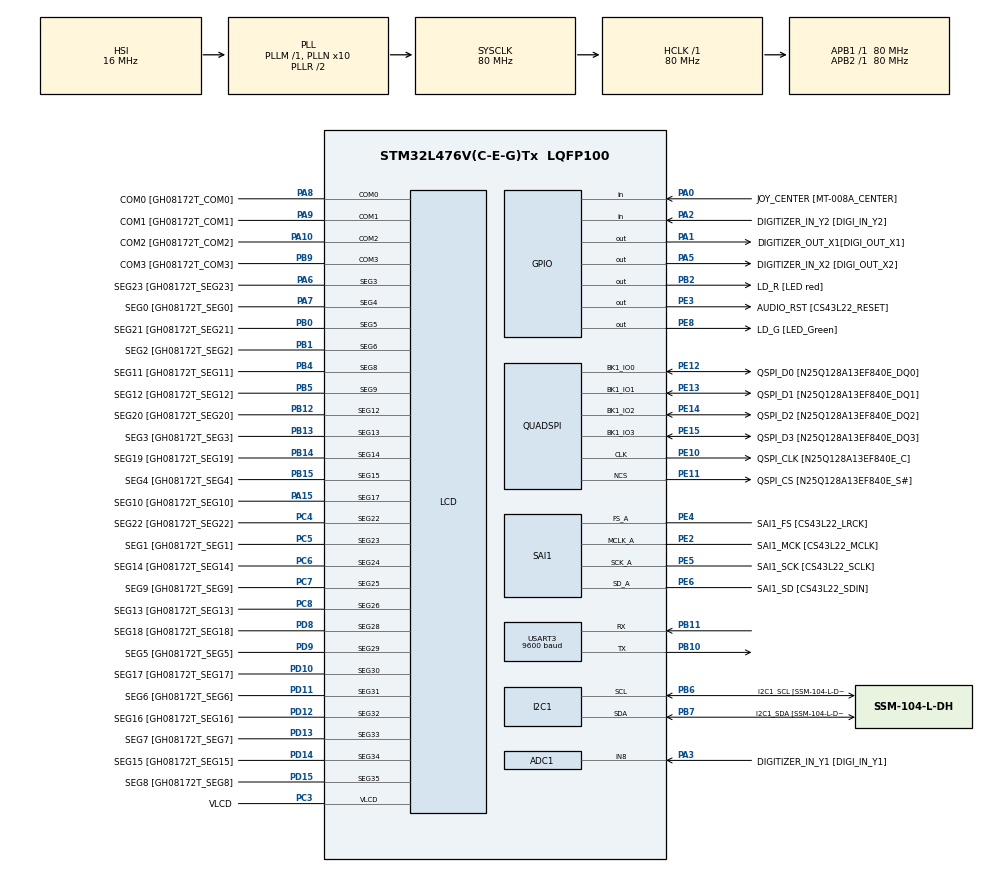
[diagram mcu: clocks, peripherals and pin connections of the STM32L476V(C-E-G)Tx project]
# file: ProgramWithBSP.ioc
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ADC1.Channel-0\#ChannelRegularConversion=ADC_CHANNEL_8
ADC1.ContinuousConvMode=DISABLE
ADC1.NbrOfConversionFlag=1
ADC1.Offset-0\#ChannelRegularConversion=0
ADC1.OffsetNumber-0\#ChannelRegularConversion=ADC_OFFSET_NONE
ADC1.Rank-0\#ChannelRegularConversion=1
ADC1.Resolution=ADC_RESOLUTION_8B
ADC1.SamplingTime-0\#ChannelRegularConversion=ADC_SAMPLETIME_92CYCLES_5
ADC1.master=1
Dma.Request0=SAI1_A
Dma.SAI1_A.0.Direction=DMA_MEMORY_TO_PERIPH
Dma.SAI1_A.0.Instance=DMA2_Channel1
Dma.SAI1_A.0.MemDataAlignment=DMA_MDATAALIGN_HALFWORD
Dma.SAI1_A.0.MemInc=DMA_MINC_ENABLE
Dma.SAI1_A.0.Mode=DMA_CIRCULAR
Dma.SAI1_A.0.PeriphDataAlignment=DMA_PDATAALIGN_HALFWORD
Dma.SAI1_A.0.PeriphInc=DMA_PINC_DISABLE
Dma.SAI1_A.0.Priority=DMA_PRIORITY_LOW
I2C1.Timing=0x10909CEC
LCD.Bias=LCD_BIAS_1_3
LCD.BlinkFrequency=LCD_BLINKFREQUENCY_DIV32
LCD.Contrast=LCD_CONTRASTLEVEL_2
LCD.Divider=LCD_DIVIDER_31
LCD.PulseOnDuration=LCD_PULSEONDURATION_4
Mcu.Family=STM32L4
Mcu.Name=STM32L476V(C-E-G)Tx
Mcu.Package=LQFP100
NVIC.ADC1_2_IRQn=true\:0\:0\:false\:false\:true\:true\:true\:true
NVIC.DMA2_Channel1_IRQn=true\:0\:0\:false\:false\:true\:false\:true\:true
NVIC.PriorityGroup=NVIC_PRIORITYGROUP_4
NVIC.SAI1_IRQn=true\:0\:0\:false\:false\:true\:true\:true\:true
NVIC.USART3_IRQn=true\:0\:0\:false\:false\:true\:true\:true\:true
PA0.GPIO_Label=JOY_CENTER [MT-008A_CENTER]
PA0.GPIO_Mode=GPIO_MODE_INPUT
PA0.GPIO_PuPd=GPIO_PULLDOWN
PA0.Signal=GPIO_Input
PA1.GPIO_Label=DIGITIZER_OUT_X1[DIGI_OUT_X1]
PA1.GPIO_PuPd=GPIO_PULLUP
PA1.PinState=GPIO_PIN_SET
PA1.Signal=GPIO_Output
PA10.GPIO_Label=COM2 [GH08172T_COM2]
PA10.GPIO_Mode=GPIO_MODE_AF_PP
PA10.GPIO_PuPd=GPIO_NOPULL
PA10.GPIO_Speed=GPIO_SPEED_FREQ_LOW
PA10.Mode=1/4 Duty Cycle
PA10.Signal=LCD_COM2
PA13\ (JTMS-SWDIO).Mode=Serial_Wire
PA13\ (JTMS-SWDIO).Signal=SYS_JTMS-SWDIO
PA14\ (JTCK-SWCLK).Mode=Serial_Wire
PA14\ (JTCK-SWCLK).Signal=SYS_JTCK-SWCLK
PA15\ (JTDI).GPIO_Label=SEG10 [GH08172T_SEG10]
PA15\ (JTDI).GPIO_Mode=GPIO_MODE_AF_PP
PA15\ (JTDI).GPIO_PuPd=GPIO_NOPULL
PA15\ (JTDI).GPIO_Speed=GPIO_SPEED_FREQ_LOW
PA15\ (JTDI).Mode=SEG17
PA15\ (JTDI).Signal=LCD_SEG17
PA2.GPIO_Label=DIGITIZER_IN_Y2 [DIGI_IN_Y2]
PA2.GPIO_PuPd=GPIO_PULLDOWN
PA2.Signal=GPIO_Input
PA3.GPIO_Label=DIGITIZER_IN_Y1 [DIGI_IN_Y1]
PA3.Signal=ADCx_IN8
PA5.GPIO_Label=DIGITIZER_IN_X2 [DIGI_OUT_X2]
PA5.GPIO_PuPd=GPIO_PULLDOWN
PA5.Signal=GPIO_Output
PA6.GPIO_Label=SEG23 [GH08172T_SEG23]
PA6.GPIO_Mode=GPIO_MODE_AF_PP
PA6.GPIO_PuPd=GPIO_NOPULL
PA6.GPIO_Speed=GPIO_SPEED_FREQ_LOW
PA6.Mode=SEG3
PA6.Signal=LCD_SEG3
PA7.GPIO_Label=SEG0 [GH08172T_SEG0]
PA7.GPIO_Mode=GPIO_MODE_AF_PP
PA7.GPIO_PuPd=GPIO_NOPULL
PA7.GPIO_Speed=GPIO_SPEED_FREQ_LOW
PA7.Mode=SEG4
PA7.Signal=LCD_SEG4
PA8.GPIO_Label=COM0 [GH08172T_COM0]
PA8.GPIO_Mode=GPIO_MODE_AF_PP
PA8.GPIO_PuPd=GPIO_NOPULL
PA8.GPIO_Speed=GPIO_SPEED_FREQ_LOW
PA8.Mode=1/4 Duty Cycle
PA8.Signal=LCD_COM0
PA9.GPIO_Label=COM1 [GH08172T_COM1]
PA9.GPIO_Mode=GPIO_MODE_AF_PP
PA9.GPIO_PuPd=GPIO_NOPULL
PA9.GPIO_Speed=GPIO_SPEED_FREQ_LOW
PA9.Mode=1/4 Duty Cycle
PA9.Signal=LCD_COM1
PB0.GPIO_Label=SEG21 [GH08172T_SEG21]
PB0.GPIO_Mode=GPIO_MODE_AF_PP
PB0.GPIO_PuPd=GPIO_NOPULL
PB0.GPIO_Speed=GPIO_SPEED_FREQ_LOW
PB0.Mode=SEG5
PB0.Signal=LCD_SEG5
PB1.GPIO_Label=SEG2 [GH08172T_SEG2]
PB1.GPIO_Mode=GPIO_MODE_AF_PP
PB1.GPIO_PuPd=GPIO_NOPULL
PB1.GPIO_Speed=GPIO_SPEED_FREQ_LOW
PB1.Mode=SEG6
PB1.Signal=LCD_SEG6
PB10.Mode=Asynchronous
PB10.Signal=USART3_TX
PB11.Mode=Asynchronous
PB11.Signal=USART3_RX
PB12.GPIO_Label=SEG20 [GH08172T_SEG20]
PB12.GPIO_Mode=GPIO_MODE_AF_PP
PB12.GPIO_PuPd=GPIO_NOPULL
PB12.GPIO_Speed=GPIO_SPEED_FREQ_LOW
PB12.Mode=SEG12
PB12.Signal=LCD_SEG12
PB13.GPIO_Label=SEG3 [GH08172T_SEG3]
PB13.GPIO_Mode=GPIO_MODE_AF_PP
PB13.GPIO_PuPd=GPIO_NOPULL
PB13.GPIO_Speed=GPIO_SPEED_FREQ_LOW
PB13.Mode=SEG13
PB13.Signal=LCD_SEG13
PB14.GPIO_Label=SEG19 [GH08172T_SEG19]
PB14.GPIO_Mode=GPIO_MODE_AF_PP
PB14.GPIO_PuPd=GPIO_NOPULL
PB14.GPIO_Speed=GPIO_SPEED_FREQ_LOW
PB14.Mode=SEG14
PB14.Signal=LCD_SEG14
PB15.GPIO_Label=SEG4 [GH08172T_SEG4]
PB15.GPIO_Mode=GPIO_MODE_AF_PP
PB15.GPIO_PuPd=GPIO_NOPULL
PB15.GPIO_Speed=GPIO_SPEED_FREQ_LOW
PB15.Mode=SEG15
PB15.Signal=LCD_SEG15
PB2.GPIO_Label=LD_R [LED red]
PB2.GPIO_ModeDefaultOutputPP=GPIO_MODE_OUTPUT_PP
PB2.GPIO_PuPd=GPIO_PULLUP
PB2.GPIO_Speed=GPIO_SPEED_FREQ_VERY_HIGH
PB2.Signal=GPIO_Output
PB4\ (NJTRST).GPIO_Label=SEG11 [GH08172T_SEG11]
PB4\ (NJTRST).GPIO_Mode=GPIO_MODE_AF_PP
PB4\ (NJTRST).GPIO_PuPd=GPIO_NOPULL
PB4\ (NJTRST).GPIO_Speed=GPIO_SPEED_FREQ_LOW
PB4\ (NJTRST).Mode=SEG8
PB4\ (NJTRST).Signal=LCD_SEG8
PB5.GPIO_Label=SEG12 [GH08172T_SEG12]
PB5.GPIO_Mode=GPIO_MODE_AF_PP
PB5.GPIO_PuPd=GPIO_NOPULL
PB5.GPIO_Speed=GPIO_SPEED_FREQ_LOW
PB5.Mode=SEG9
PB5.Signal=LCD_SEG9
PB6.GPIO_FM6=__NULL
PB6.GPIO_Label=I2C1_SCL [SSM-104-L-DH_SCL]
PB6.GPIO_Mode=GPIO_MODE_AF_OD
PB6.GPIO_Pu=GPIO_PULLUP
PB6.GPIO_Speed=GPIO_SPEED_FREQ_VERY_HIGH
PB6.Mode=I2C
PB6.Signal=I2C1_SCL
PB7.GPIO_FM7=__NULL
PB7.GPIO_Label=I2C1_SDA [SSM-104-L-DH_SDA]
PB7.GPIO_Mode=GPIO_MODE_AF_OD
PB7.GPIO_Pu=GPIO_PULLUP
PB7.GPIO_Speed=GPIO_SPEED_FREQ_VERY_HIGH
PB7.Mode=I2C
PB7.Signal=I2C1_SDA
PB9.GPIO_FM9=__NULL
PB9.GPIO_Label=COM3 [GH08172T_COM3]
PB9.GPIO_Mode=GPIO_MODE_AF_PP
PB9.GPIO_PuPd=GPIO_NOPULL
PB9.GPIO_Speed=GPIO_SPEED_FREQ_LOW
PB9.Mode=1/4 Duty Cycle
PB9.Signal=LCD_COM3
PC3.GPIO_Label=VLCD
PC3.GPIO_Mode=GPIO_MODE_AF_PP
PC3.GPIO_PuPd=GPIO_NOPULL
PC3.GPIO_Speed=GPIO_SPEED_FREQ_LOW
PC3.Mode=1/4 Duty Cycle
PC3.Signal=LCD_VLCD
PC4.GPIO_Label=SEG22 [GH08172T_SEG22]
PC4.GPIO_Mode=GPIO_MODE_AF_PP
PC4.GPIO_PuPd=GPIO_NOPULL
PC4.GPIO_Speed=GPIO_SPEED_FREQ_LOW
PC4.Mode=SEG22
PC4.Signal=LCD_SEG22
PC5.GPIO_Label=SEG1 [GH08172T_SEG1]
PC5.GPIO_Mode=GPIO_MODE_AF_PP
PC5.GPIO_PuPd=GPIO_NOPULL
PC5.GPIO_Speed=GPIO_SPEED_FREQ_LOW
PC5.Mode=SEG23
PC5.Signal=LCD_SEG23
PC6.GPIO_Label=SEG14 [GH08172T_SEG14]
PC6.GPIO_Mode=GPIO_MODE_AF_PP
PC6.GPIO_PuPd=GPIO_NOPULL
PC6.GPIO_Speed=GPIO_SPEED_FREQ_LOW
PC6.Mode=SEG24
PC6.Signal=LCD_SEG24
PC7.GPIO_Label=SEG9 [GH08172T_SEG9]
PC7.GPIO_Mode=GPIO_MODE_AF_PP
PC7.GPIO_PuPd=GPIO_NOPULL
PC7.GPIO_Speed=GPIO_SPEED_FREQ_LOW
PC7.Mode=SEG25
PC7.Signal=LCD_SEG25
PC8.GPIO_Label=SEG13 [GH08172T_SEG13]
PC8.GPIO_Mode=GPIO_MODE_AF_PP
PC8.GPIO_PuPd=GPIO_NOPULL
PC8.GPIO_Speed=GPIO_SPEED_FREQ_LOW
PC8.Mode=SEG26
PC8.Signal=LCD_SEG26
PD10.GPIO_Label=SEG17 [GH08172T_SEG17]
PD10.GPIO_Mode=GPIO_MODE_AF_PP
PD10.GPIO_PuPd=GPIO_NOPULL
PD10.GPIO_Speed=GPIO_SPEED_FREQ_LOW
PD10.Mode=SEG30
PD10.Signal=LCD_SEG30
PD11.GPIO_Label=SEG6 [GH08172T_SEG6]
PD11.GPIO_Mode=GPIO_MODE_AF_PP
PD11.GPIO_PuPd=GPIO_NOPULL
PD11.GPIO_Speed=GPIO_SPEED_FREQ_LOW
PD11.Mode=SEG31
PD11.Signal=LCD_SEG31
PD12.GPIO_Label=SEG16 [GH08172T_SEG16]
PD12.GPIO_Mode=GPIO_MODE_AF_PP
PD12.GPIO_PuPd=GPIO_NOPULL
PD12.GPIO_Speed=GPIO_SPEED_FREQ_LOW
PD12.Mode=SEG32
PD12.Signal=LCD_SEG32
PD13.GPIO_Label=SEG7 [GH08172T_SEG7]
PD13.GPIO_Mode=GPIO_MODE_AF_PP
PD13.GPIO_PuPd=GPIO_NOPULL
PD13.GPIO_Speed=GPIO_SPEED_FREQ_LOW
PD13.Mode=SEG33
PD13.Signal=LCD_SEG33
PD14.GPIO_Label=SEG15 [GH08172T_SEG15]
PD14.GPIO_Mode=GPIO_MODE_AF_PP
PD14.GPIO_PuPd=GPIO_NOPULL
PD14.GPIO_Speed=GPIO_SPEED_FREQ_LOW
PD14.Mode=SEG34
PD14.Signal=LCD_SEG34
PD15.GPIO_Label=SEG8 [GH08172T_SEG8]
PD15.GPIO_Mode=GPIO_MODE_AF_PP
PD15.GPIO_PuPd=GPIO_NOPULL
PD15.GPIO_Speed=GPIO_SPEED_FREQ_LOW
PD15.Mode=SEG35
PD15.Signal=LCD_SEG35
PD8.GPIO_Label=SEG18 [GH08172T_SEG18]
PD8.GPIO_Mode=GPIO_MODE_AF_PP
PD8.GPIO_PuPd=GPIO_NOPULL
PD8.GPIO_Speed=GPIO_SPEED_FREQ_LOW
PD8.Mode=SEG28
PD8.Signal=LCD_SEG28
PD9.GPIO_Label=SEG5 [GH08172T_SEG5]
PD9.GPIO_Mode=GPIO_MODE_AF_PP
PD9.GPIO_PuPd=GPIO_NOPULL
PD9.GPIO_Speed=GPIO_SPEED_FREQ_LOW
PD9.Mode=SEG29
PD9.Signal=LCD_SEG29
PE10.GPIO_Label=QSPI_CLK [N25Q128A13EF840E_C]
PE10.GPIO_Mode=GPIO_MODE_AF_PP
PE10.GPIO_PuPd=GPIO_NOPULL
PE10.GPIO_Speed=GPIO_SPEED_FREQ_VERY_HIGH
PE10.Mode=Single Bank
PE10.Signal=QUADSPI_CLK
PE11.GPIO_Label=QSPI_CS [N25Q128A13EF840E_S\#]
PE11.GPIO_Mode=GPIO_MODE_AF_PP
PE11.GPIO_PuPd=GPIO_NOPULL
PE11.GPIO_Speed=GPIO_SPEED_FREQ_VERY_HIGH
PE11.Mode=Single Bank
PE11.Signal=QUADSPI_NCS
PE12.GPIO_Label=QSPI_D0 [N25Q128A13EF840E_DQ0]
PE12.GPIO_Mode=GPIO_MODE_AF_PP
PE12.GPIO_PuPd=GPIO_NOPULL
PE12.GPIO_Speed=GPIO_SPEED_FREQ_VERY_HIGH
PE12.Mode=Single Bank
PE12.Signal=QUADSPI_BK1_IO0
PE13.GPIO_Label=QSPI_D1 [N25Q128A13EF840E_DQ1]
PE13.GPIO_Mode=GPIO_MODE_AF_PP
PE13.GPIO_PuPd=GPIO_NOPULL
PE13.GPIO_Speed=GPIO_SPEED_FREQ_VERY_HIGH
PE13.Mode=Single Bank
PE13.Signal=QUADSPI_BK1_IO1
PE14.GPIO_Label=QSPI_D2 [N25Q128A13EF840E_DQ2]
PE14.GPIO_Mode=GPIO_MODE_AF_PP
PE14.GPIO_PuPd=GPIO_NOPULL
PE14.GPIO_Speed=GPIO_SPEED_FREQ_VERY_HIGH
PE14.Mode=Single Bank
PE14.Signal=QUADSPI_BK1_IO2
PE15.GPIO_Label=QSPI_D3 [N25Q128A13EF840E_DQ3]
PE15.GPIO_Mode=GPIO_MODE_AF_PP
PE15.GPIO_PuPd=GPIO_NOPULL
PE15.GPIO_Speed=GPIO_SPEED_FREQ_VERY_HIGH
PE15.Mode=Single Bank
PE15.Signal=QUADSPI_BK1_IO3
PE2.GPIO_Label=SAI1_MCK [CS43L22_MCLK]
PE2.GPIO_Speed=GPIO_SPEED_FREQ_VERY_HIGH
PE2.Mode=SAI_A_MasterWithClock
PE2.Signal=SAI1_MCLK_A
PE3.GPIO_Label=AUDIO_RST [CS43L22_RESET]
PE3.GPIO_ModeDefaultOutputPP=GPIO_MODE_OUTPUT_PP
PE3.GPIO_PuPd=GPIO_NOPULL
PE3.GPIO_Speed=GPIO_SPEED_FREQ_HIGH
PE3.PinState=GPIO_PIN_SET
PE3.Signal=GPIO_Output
PE4.GPIO_Label=SAI1_FS [CS43L22_LRCK]
PE4.GPIO_Mode=GPIO_MODE_AF_PP
PE4.GPIO_PuPd=GPIO_NOPULL
PE4.GPIO_Speed=GPIO_SPEED_FREQ_VERY_HIGH
PE4.Mode=SAI_A_MasterWithClock
PE4.Signal=SAI1_FS_A
PE5.GPIO_Label=SAI1_SCK [CS43L22_SCLK]
PE5.GPIO_Mode=GPIO_MODE_AF_PP
PE5.GPIO_PuPd=GPIO_NOPULL
PE5.GPIO_Speed=GPIO_SPEED_FREQ_VERY_HIGH
PE5.Mode=SAI_A_MasterWithClock
PE5.Signal=SAI1_SCK_A
PE6.GPIO_Label=SAI1_SD [CS43L22_SDIN]
PE6.GPIO_Mode=GPIO_MODE_AF_PP
PE6.GPIO_PuPd=GPIO_NOPULL
PE6.GPIO_Speed=GPIO_SPEED_FREQ_VERY_HIGH
PE6.Mode=SAI_A_MasterWithClock
PE6.Signal=SAI1_SD_A
PE8.GPIO_Label=LD_G [LED_Green]
PE8.GPIO_ModeDefaultOutputPP=GPIO_MODE_OUTPUT_PP
PE8.GPIO_PuPd=GPIO_PULLUP
PE8.GPIO_Speed=GPIO_SPEED_FREQ_VERY_HIGH
PE8.Signal=GPIO_Output
PH0-OSC_IN\ (PH0).Mode=HSE-External-Oscillator
PH0-OSC_IN\ (PH0).Signal=RCC_OSC_IN
PH1-OSC_OUT\ (PH1).Mode=HSE-External-Oscillator
PH1-OSC_OUT\ (PH1).Signal=RCC_OSC_OUT
ProjectManager.HeapSize=0x200
ProjectManager.StackSize=0x400
ProjectManager.TargetToolchain=STM32CubeIDE
QUADSPI.ClockPrescaler=1
QUADSPI.FifoThreshold=4
QUADSPI.FlashSize=24
QUADSPI.SampleShifting=QSPI_SAMPLE_SHIFTING_HALFCYCLE
RCC.ADCFreq_Value=80000000
RCC.AHBFreq_Value=80000000
RCC.APB1Freq_Value=80000000
RCC.APB1TimFreq_Value=80000000
RCC.APB2Freq_Value=80000000
RCC.APB2TimFreq_Value=80000000
RCC.CortexFreq_Value=80000000
RCC.HCLKFreq_Value=80000000
RCC.HSE_VALUE=8000000
RCC.HSI_VALUE=16000000
RCC.LSE_VALUE=32768
RCC.MSI_VALUE=4000000
RCC.PLLN=10
RCC.PLLSAI1N=10
RCC.PLLSourceVirtual=RCC_PLLSOURCE_HSI
RCC.PREFETCH_ENABLE=1
RCC.SYSCLKFreq_VALUE=80000000
RCC.SYSCLKSource=RCC_SYSCLKSOURCE_PLLCLK
RCC.USBFreq_Value=80000000
RCC.VCOOutputFreq_Value=160000000
SAI1.AudioFrequency-SAI_A_MasterWithClock=SAI_AUDIO_FREQUENCY_44K
SAI1.ErrorAudioFreq-SAI_A_MasterWithClock=1.45 %
SAI1.InitProtocol-SAI_A_MasterWithClock=Enable
SAI1.Instance-SAI_A_MasterWithClock=SAI$Index_Block_A
SAI1.MClockEnable-SAI_A_MasterWithClock=SAI_MASTERCLOCK_ENABLE
SAI1.MonoStereoMode-SAI_A_MasterWithClock=SAI_STEREOMODE
SAI1.RealAudioFreq-SAI_A_MasterWithClock=44.642 KHz
SAI1.VirtualMode-SAI_A_MasterWithClock=VM_MASTER
SAI1.VirtualProtocol-SAI_A_BASIC=VM_BASIC_PROTOCOL
SH.ADCx_IN8.0=ADC1_IN8,IN8-Single-Ended
USART3.BaudRate=9600
USART3.VirtualMode-Asynchronous=VM_ASYNC
VP_RTC_VS_RTC_Activate.Mode=RTC_Enabled
VP_SAI1_VP_$IpInstance_SAIA_SAI_BASIC.Mode=SAI_A_BASIC
board=STM32L476G-DISCO

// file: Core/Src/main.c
/* USER CODE BEGIN Header */
/**
  ******************************************************************************
  * @file           : main.c
  * @brief          : Main program body
  ******************************************************************************
  * @attention
  *
  * Copyright (c) 2022 STMicroelectronics.
  * All rights reserved.
  *
  * This software is licensed under terms that can be found in the LICENSE file
  * in the root directory of this software component.
  * If no LICENSE file comes with this software, it is provided AS-IS.
  *
  ******************************************************************************
  */
/* USER CODE END Header */
#include "main.h"

/* USER CODE BEGIN Includes */
#include "../../../Drivers/BSP/STM32L476G-Discovery/stm32l476g_discovery.h"
#include "../../../Drivers/BSP/STM32L476G-Discovery/stm32l476g_discovery_glass_lcd.h"
#include "../../../Drivers/BSP/STM32L476G-Discovery/stm32l476g_discovery_qspi.h"
#include "../../../Drivers/BSP/STM32L476G-Discovery/stm32l476g_discovery_audio.h"
#include "string.h"
#include <stdio.h>

/* USER CODE END Includes */

/* USER CODE BEGIN PTD */

#define BUFFER_SIZE        	1
#define WRITE_READ_ADDR     ((uint32_t)0x00100000)
#define QSPI_BASE_ADDR      ((uint32_t)0x90000000)

uint8_t qspi_aTxBuffer[BUFFER_SIZE];
uint8_t qspi_aRxBuffer[4];

int tab[4][4] = {{0,1,2,3}, {8,5,6,7}, {13,9,10,11}, {15,16,14,17}};
/* USER CODE END PTD */

/* USER CODE BEGIN PD */

//1.open -> sektor 16
//2.trade -> sektor 17
//3.cymbal -> sektor 18
//4.kick2 -> sektor 19
//5.wood -> sektor 20
//6.snare -> sektor 21

//7.clap -> sektor 22
//8.tom -> sektor 23
//9.hihat -> sektor 24
//10.kick -> sektor 25
//11.hihatModular -> sektor 26
//12.kick2 -> sektor 27

//13.cowbell -> sektor 28
//14.egg -> sektor 29
//15.cabasa -> sektor 30
//16.congaLov -> sektor 31
//17.clave -> sektor 32
//18.congaHigh -> sektor 33

void AudioPlay_Error_CallBack(void)
{
  /* Stop the program with an infinite loop */
  Error_Handler();
}

/* Size (in bytes) of each audio file */
#define AUDIO_FILE_SIZE      (uint32_t)(44144)

/* Address of the first audio in FLASH memory*/
#define AUDIO_START_ADDRESS  WRITE_READ_ADDR

#define AUDIODATA_SIZE                      2

/* Remainig number of audio samples to play */
static int32_t RemainingAudioSamplesNb;

/* Address (in Flash memory) of the first audio sample to play */
static uint16_t *pAudioSample;

static uint32_t RozmiarSekcji = 65536;

void AudioPlay_TransferComplete_CallBack()
{
}

/* USER CODE END PD */

 ADC_HandleTypeDef hadc1;

I2C_HandleTypeDef hi2c1;

LCD_HandleTypeDef hlcd;

QSPI_HandleTypeDef hqspi;

RTC_HandleTypeDef hrtc;

SAI_HandleTypeDef hsai_BlockA1;
DMA_HandleTypeDef hdma_sai1_a;

UART_HandleTypeDef huart3;

/* USER CODE BEGIN PV */

uint32_t PomiarADC;
volatile uint8_t adc;
void HAL_ADC_ConvCpltCallback(ADC_HandleTypeDef *hadc) {
	PomiarADC = HAL_ADC_GetValue(&hadc1); // Pobranie zmierzonej wartosci
}

/* USER CODE END PV */

void SystemClock_Config(void);
void PeriphCommonClock_Config(void);
static void MX_GPIO_Init(void);
static void MX_LCD_Init(void);
static void MX_QUADSPI_Init(void);
static void MX_RTC_Init(void);
static void MX_I2C1_Init(void);
static void MX_DMA_Init(void);
static void MX_USART3_UART_Init(void);
static void MX_SAI1_Init(void);
static void MX_ADC1_Init(void);

int main(void)
{

  /* MCU Configuration--------------------------------------------------------*/

  /* Reset of all peripherals, Initializes the Flash interface and the Systick. */
  HAL_Init();

  /* Configure the system clock */
  SystemClock_Config();

/* Configure the peripherals common clocks */
  PeriphCommonClock_Config();

  /* Initialize all configured peripherals */
  MX_GPIO_Init();
  MX_LCD_Init();
  MX_QUADSPI_Init();
  MX_RTC_Init();
  MX_I2C1_Init();
  MX_DMA_Init();
  MX_USART3_UART_Init();
  MX_SAI1_Init();
  MX_ADC1_Init();
  /* USER CODE BEGIN 2 */
  BSP_LCD_GLASS_Init();
  HAL_ADC_Start_IT(&hadc1);
  /* USER CODE END 2 */

  /* Infinite loop */
  /* USER CODE BEGIN WHILE */

  BSP_LCD_GLASS_ScrollSentence((uint8_t *)"      WITAMY W PALPER", 1, SCROLL_SPEED_HIGH);

  static QSPI_Info pQSPI_Info;
  uint8_t status;
  status = BSP_QSPI_Init();
  if (status == QSPI_OK) {
	  pQSPI_Info.FlashSize          = (uint32_t)0x00;
	  pQSPI_Info.EraseSectorSize    = (uint32_t)0x00;
	  pQSPI_Info.EraseSectorsNumber = (uint32_t)0x00;
	  pQSPI_Info.ProgPageSize       = (uint32_t)0x00;
	  pQSPI_Info.ProgPagesNumber    = (uint32_t)0x00;
  }

  if(BSP_AUDIO_OUT_Init(2,  // Słuchawki
                        80, // %głośności
                        44100) != 0)  // częstotliwość
  {
		  Error_Handler();
  }

  BSP_AUDIO_OUT_RegisterCallbacks(AudioPlay_Error_CallBack,
              	  	  	  	  	  NULL,
                                  AudioPlay_TransferComplete_CallBack);

  if(BSP_AUDIO_OUT_SetVolume(80) != 0)
  {
	  Error_Handler();
  }

  int flag2 = 1;
  uint32_t count = 0;
  char buff[6];
  sprintf(buff,"SEK %i",1);
  BSP_LCD_GLASS_DisplayString(buff);
  HAL_ADC_Start(&hadc1);
  while (1)
  {
    /* USER CODE END WHILE */

    /* USER CODE BEGIN 3 */

	  if(HAL_GPIO_ReadPin(JOY_CENTER_GPIO_Port,JOY_CENTER_Pin) && flag2)
	  {
		  count++;
		  flag2 = 0;
		  count = count % 4;
		  sprintf(buff,"SEK %i",count+1);
		  BSP_LCD_GLASS_DisplayString(buff);
	  }
	  if(!(HAL_GPIO_ReadPin(JOY_CENTER_GPIO_Port,JOY_CENTER_Pin)))
	  {
		  flag2 = 1;
	  }

	  if (HAL_ADC_PollForConversion(&hadc1, 10) == HAL_OK)
	  {
		  PomiarADC = HAL_ADC_GetValue(&hadc1);
		  //SEKTOR 1
		  if(PomiarADC == 7 || PomiarADC == 15 || PomiarADC == 31)
		  {
			  RemainingAudioSamplesNb = (uint32_t)(AUDIO_FILE_SIZE / 2);
			  pAudioSample = (uint16_t *) (WRITE_READ_ADDR+(RozmiarSekcji * (tab[count][0])));
			  BSP_AUDIO_OUT_Play(pAudioSample, RemainingAudioSamplesNb);
			  HAL_Delay(150);
			  BSP_AUDIO_OUT_Stop(2);
		  }
		  //SEKTOR 2
		  else if(PomiarADC == 63)
		  {
			  RemainingAudioSamplesNb = (uint32_t)(AUDIO_FILE_SIZE / 2);
			  pAudioSample = (uint16_t *) (WRITE_READ_ADDR+(RozmiarSekcji * (tab[count][1])));
			  BSP_AUDIO_OUT_Play(pAudioSample, RemainingAudioSamplesNb);
			  HAL_Delay(150);
			  BSP_AUDIO_OUT_Stop(2);
		  }
		  //SEKTOR 3
		  else if(PomiarADC == 192)
		  {
			  RemainingAudioSamplesNb = (uint32_t)(AUDIO_FILE_SIZE / 2);
			  pAudioSample = (uint16_t *) (WRITE_READ_ADDR+(RozmiarSekcji * (tab[count][2])));  //congalow
			  BSP_AUDIO_OUT_Play(pAudioSample, RemainingAudioSamplesNb);
			  HAL_Delay(150);
			  BSP_AUDIO_OUT_Stop(2);
		  }
		  //SEKTOR 4
		  else if(PomiarADC == 224 || PomiarADC == 240)
		  {
			  RemainingAudioSamplesNb = (uint32_t)(AUDIO_FILE_SIZE / 2);
			  pAudioSample = (uint16_t *) (WRITE_READ_ADDR+(RozmiarSekcji * (tab[count][3])));
			  BSP_AUDIO_OUT_Play(pAudioSample, RemainingAudioSamplesNb);
			  HAL_Delay(150);
			  BSP_AUDIO_OUT_Stop(2);

		  }
		  HAL_ADC_Start(&hadc1);
	  }
  }
  /* USER CODE END 3 */
}

void SystemClock_Config(void)
{
  RCC_OscInitTypeDef RCC_OscInitStruct = {0};
  RCC_ClkInitTypeDef RCC_ClkInitStruct = {0};

  /** Configure the main internal regulator output voltage
  */
  if (HAL_PWREx_ControlVoltageScaling(PWR_REGULATOR_VOLTAGE_SCALE1) != HAL_OK)
  {
    Error_Handler();
  }

  /** Initializes the RCC Oscillators according to the specified parameters
  * in the RCC_OscInitTypeDef structure.
  */
  RCC_OscInitStruct.OscillatorType = RCC_OSCILLATORTYPE_HSI|RCC_OSCILLATORTYPE_LSI;
  RCC_OscInitStruct.HSIState = RCC_HSI_ON;
  RCC_OscInitStruct.HSICalibrationValue = RCC_HSICALIBRATION_DEFAULT;
  RCC_OscInitStruct.LSIState = RCC_LSI_ON;
  RCC_OscInitStruct.PLL.PLLState = RCC_PLL_ON;
  RCC_OscInitStruct.PLL.PLLSource = RCC_PLLSOURCE_HSI;
  RCC_OscInitStruct.PLL.PLLM = 1;
  RCC_OscInitStruct.PLL.PLLN = 10;
  RCC_OscInitStruct.PLL.PLLP = RCC_PLLP_DIV7;
  RCC_OscInitStruct.PLL.PLLQ = RCC_PLLQ_DIV2;
  RCC_OscInitStruct.PLL.PLLR = RCC_PLLR_DIV2;
  if (HAL_RCC_OscConfig(&RCC_OscInitStruct) != HAL_OK)
  {
    Error_Handler();
  }

  /** Initializes the CPU, AHB and APB buses clocks
  */
  RCC_ClkInitStruct.ClockType = RCC_CLOCKTYPE_HCLK|RCC_CLOCKTYPE_SYSCLK
                              |RCC_CLOCKTYPE_PCLK1|RCC_CLOCKTYPE_PCLK2;
  RCC_ClkInitStruct.SYSCLKSource = RCC_SYSCLKSOURCE_PLLCLK;
  RCC_ClkInitStruct.AHBCLKDivider = RCC_SYSCLK_DIV1;
  RCC_ClkInitStruct.APB1CLKDivider = RCC_HCLK_DIV1;
  RCC_ClkInitStruct.APB2CLKDivider = RCC_HCLK_DIV1;

  if (HAL_RCC_ClockConfig(&RCC_ClkInitStruct, FLASH_LATENCY_4) != HAL_OK)
  {
    Error_Handler();
  }
}

void PeriphCommonClock_Config(void)
{
  RCC_PeriphCLKInitTypeDef PeriphClkInit = {0};

  /** Initializes the peripherals clock
  */
  PeriphClkInit.PeriphClockSelection = RCC_PERIPHCLK_SAI1|RCC_PERIPHCLK_ADC;
  PeriphClkInit.Sai1ClockSelection = RCC_SAI1CLKSOURCE_PLLSAI1;
  PeriphClkInit.AdcClockSelection = RCC_ADCCLKSOURCE_PLLSAI1;
  PeriphClkInit.PLLSAI1.PLLSAI1Source = RCC_PLLSOURCE_HSI;
  PeriphClkInit.PLLSAI1.PLLSAI1M = 1;
  PeriphClkInit.PLLSAI1.PLLSAI1N = 10;
  PeriphClkInit.PLLSAI1.PLLSAI1P = RCC_PLLP_DIV7;
  PeriphClkInit.PLLSAI1.PLLSAI1Q = RCC_PLLQ_DIV2;
  PeriphClkInit.PLLSAI1.PLLSAI1R = RCC_PLLR_DIV2;
  PeriphClkInit.PLLSAI1.PLLSAI1ClockOut = RCC_PLLSAI1_SAI1CLK|RCC_PLLSAI1_ADC1CLK;
  if (HAL_RCCEx_PeriphCLKConfig(&PeriphClkInit) != HAL_OK)
  {
    Error_Handler();
  }
}

static void MX_ADC1_Init(void)
{

  ADC_MultiModeTypeDef multimode = {0};
  ADC_ChannelConfTypeDef sConfig = {0};

  /** Common config
  */
  hadc1.Instance = ADC1;
  hadc1.Init.ClockPrescaler = ADC_CLOCK_ASYNC_DIV1;
  hadc1.Init.Resolution = ADC_RESOLUTION_8B;
  hadc1.Init.DataAlign = ADC_DATAALIGN_RIGHT;
  hadc1.Init.ScanConvMode = ADC_SCAN_DISABLE;
  hadc1.Init.EOCSelection = ADC_EOC_SINGLE_CONV;
  hadc1.Init.LowPowerAutoWait = DISABLE;
  hadc1.Init.ContinuousConvMode = DISABLE;
  hadc1.Init.NbrOfConversion = 1;
  hadc1.Init.DiscontinuousConvMode = DISABLE;
  hadc1.Init.ExternalTrigConv = ADC_SOFTWARE_START;
  hadc1.Init.ExternalTrigConvEdge = ADC_EXTERNALTRIGCONVEDGE_NONE;
  hadc1.Init.DMAContinuousRequests = DISABLE;
  hadc1.Init.Overrun = ADC_OVR_DATA_PRESERVED;
  hadc1.Init.OversamplingMode = DISABLE;
  if (HAL_ADC_Init(&hadc1) != HAL_OK)
  {
    Error_Handler();
  }

  /** Configure the ADC multi-mode
  */
  multimode.Mode = ADC_MODE_INDEPENDENT;
  if (HAL_ADCEx_MultiModeConfigChannel(&hadc1, &multimode) != HAL_OK)
  {
    Error_Handler();
  }

  /** Configure Regular Channel
  */
  sConfig.Channel = ADC_CHANNEL_8;
  sConfig.Rank = ADC_REGULAR_RANK_1;
  sConfig.SamplingTime = ADC_SAMPLETIME_92CYCLES_5;
  sConfig.SingleDiff = ADC_SINGLE_ENDED;
  sConfig.OffsetNumber = ADC_OFFSET_NONE;
  sConfig.Offset = 0;
  if (HAL_ADC_ConfigChannel(&hadc1, &sConfig) != HAL_OK)
  {
    Error_Handler();
  }

}

static void MX_I2C1_Init(void)
{

  hi2c1.Instance = I2C1;
  hi2c1.Init.Timing = 0x10909CEC;
  hi2c1.Init.OwnAddress1 = 0;
  hi2c1.Init.AddressingMode = I2C_ADDRESSINGMODE_7BIT;
  hi2c1.Init.DualAddressMode = I2C_DUALADDRESS_DISABLE;
  hi2c1.Init.OwnAddress2 = 0;
  hi2c1.Init.OwnAddress2Masks = I2C_OA2_NOMASK;
  hi2c1.Init.GeneralCallMode = I2C_GENERALCALL_DISABLE;
  hi2c1.Init.NoStretchMode = I2C_NOSTRETCH_DISABLE;
  if (HAL_I2C_Init(&hi2c1) != HAL_OK)
  {
    Error_Handler();
  }

  /** Configure Analogue filter
  */
  if (HAL_I2CEx_ConfigAnalogFilter(&hi2c1, I2C_ANALOGFILTER_ENABLE) != HAL_OK)
  {
    Error_Handler();
  }

  /** Configure Digital filter
  */
  if (HAL_I2CEx_ConfigDigitalFilter(&hi2c1, 0) != HAL_OK)
  {
    Error_Handler();
  }

}

static void MX_LCD_Init(void)
{

  hlcd.Instance = LCD;
  hlcd.Init.Prescaler = LCD_PRESCALER_1;
  hlcd.Init.Divider = LCD_DIVIDER_31;
  hlcd.Init.Duty = LCD_DUTY_1_4;
  hlcd.Init.Bias = LCD_BIAS_1_3;
  hlcd.Init.VoltageSource = LCD_VOLTAGESOURCE_INTERNAL;
  hlcd.Init.Contrast = LCD_CONTRASTLEVEL_2;
  hlcd.Init.DeadTime = LCD_DEADTIME_0;
  hlcd.Init.PulseOnDuration = LCD_PULSEONDURATION_4;
  hlcd.Init.MuxSegment = LCD_MUXSEGMENT_DISABLE;
  hlcd.Init.BlinkMode = LCD_BLINKMODE_OFF;
  hlcd.Init.BlinkFrequency = LCD_BLINKFREQUENCY_DIV32;
  hlcd.Init.HighDrive = LCD_HIGHDRIVE_DISABLE;
  if (HAL_LCD_Init(&hlcd) != HAL_OK)
  {
    Error_Handler();
  }

}

static void MX_QUADSPI_Init(void)
{

  /* QUADSPI parameter configuration*/
  hqspi.Instance = QUADSPI;
  hqspi.Init.ClockPrescaler = 1;
  hqspi.Init.FifoThreshold = 4;
  hqspi.Init.SampleShifting = QSPI_SAMPLE_SHIFTING_HALFCYCLE;
  hqspi.Init.FlashSize = 24;
  hqspi.Init.ChipSelectHighTime = QSPI_CS_HIGH_TIME_1_CYCLE;
  hqspi.Init.ClockMode = QSPI_CLOCK_MODE_0;
  if (HAL_QSPI_Init(&hqspi) != HAL_OK)
  {
    Error_Handler();
  }

}

static void MX_RTC_Init(void)
{

  /** Initialize RTC Only
  */
  hrtc.Instance = RTC;
  hrtc.Init.HourFormat = RTC_HOURFORMAT_24;
  hrtc.Init.AsynchPrediv = 127;
  hrtc.Init.SynchPrediv = 255;
  hrtc.Init.OutPut = RTC_OUTPUT_DISABLE;
  hrtc.Init.OutPutRemap = RTC_OUTPUT_REMAP_NONE;
  hrtc.Init.OutPutPolarity = RTC_OUTPUT_POLARITY_HIGH;
  hrtc.Init.OutPutType = RTC_OUTPUT_TYPE_OPENDRAIN;
  if (HAL_RTC_Init(&hrtc) != HAL_OK)
  {
    Error_Handler();
  }

}

static void MX_SAI1_Init(void)
{

  hsai_BlockA1.Instance = SAI1_Block_A;
  hsai_BlockA1.Init.AudioMode = SAI_MODEMASTER_TX;
  hsai_BlockA1.Init.Synchro = SAI_ASYNCHRONOUS;
  hsai_BlockA1.Init.OutputDrive = SAI_OUTPUTDRIVE_DISABLE;
  hsai_BlockA1.Init.NoDivider = SAI_MASTERDIVIDER_ENABLE;
  hsai_BlockA1.Init.FIFOThreshold = SAI_FIFOTHRESHOLD_EMPTY;
  hsai_BlockA1.Init.AudioFrequency = SAI_AUDIO_FREQUENCY_44K;
  hsai_BlockA1.Init.SynchroExt = SAI_SYNCEXT_DISABLE;
  hsai_BlockA1.Init.MonoStereoMode = SAI_STEREOMODE;
  hsai_BlockA1.Init.CompandingMode = SAI_NOCOMPANDING;
  hsai_BlockA1.Init.TriState = SAI_OUTPUT_NOTRELEASED;
  if (HAL_SAI_InitProtocol(&hsai_BlockA1, SAI_I2S_STANDARD, SAI_PROTOCOL_DATASIZE_16BIT, 2) != HAL_OK)
  {
    Error_Handler();
  }

}

static void MX_USART3_UART_Init(void)
{

  huart3.Instance = USART3;
  huart3.Init.BaudRate = 9600;
  huart3.Init.WordLength = UART_WORDLENGTH_8B;
  huart3.Init.StopBits = UART_STOPBITS_1;
  huart3.Init.Parity = UART_PARITY_NONE;
  huart3.Init.Mode = UART_MODE_TX_RX;
  huart3.Init.HwFlowCtl = UART_HWCONTROL_NONE;
  huart3.Init.OverSampling = UART_OVERSAMPLING_16;
  huart3.Init.OneBitSampling = UART_ONE_BIT_SAMPLE_DISABLE;
  huart3.AdvancedInit.AdvFeatureInit = UART_ADVFEATURE_NO_INIT;
  if (HAL_UART_Init(&huart3) != HAL_OK)
  {
    Error_Handler();
  }

}

static void MX_DMA_Init(void)
{

  /* DMA controller clock enable */
  __HAL_RCC_DMA2_CLK_ENABLE();

  /* DMA interrupt init */
  /* DMA2_Channel1_IRQn interrupt configuration */
  HAL_NVIC_SetPriority(DMA2_Channel1_IRQn, 0, 0);
  HAL_NVIC_EnableIRQ(DMA2_Channel1_IRQn);

}

static void MX_GPIO_Init(void)
{
  GPIO_InitTypeDef GPIO_InitStruct = {0};

  /* GPIO Ports Clock Enable */
  __HAL_RCC_GPIOE_CLK_ENABLE();
  __HAL_RCC_GPIOH_CLK_ENABLE();
  __HAL_RCC_GPIOC_CLK_ENABLE();
  __HAL_RCC_GPIOA_CLK_ENABLE();
  __HAL_RCC_GPIOB_CLK_ENABLE();
  __HAL_RCC_GPIOD_CLK_ENABLE();

  /*Configure GPIO pin Output Level */
  HAL_GPIO_WritePin(AUDIO_RST_GPIO_Port, AUDIO_RST_Pin, GPIO_PIN_SET);

  /*Configure GPIO pin Output Level */
  HAL_GPIO_WritePin(DIGITIZER_OUT_X1_GPIO_Port, DIGITIZER_OUT_X1_Pin, GPIO_PIN_SET);

  /*Configure GPIO pin Output Level */
  HAL_GPIO_WritePin(DIGITIZER_IN_X2_GPIO_Port, DIGITIZER_IN_X2_Pin, GPIO_PIN_RESET);

  /*Configure GPIO pin Output Level */
  HAL_GPIO_WritePin(LD_R_GPIO_Port, LD_R_Pin, GPIO_PIN_RESET);

  /*Configure GPIO pin Output Level */
  HAL_GPIO_WritePin(LD_G_GPIO_Port, LD_G_Pin, GPIO_PIN_RESET);

  /*Configure GPIO pin : AUDIO_RST_Pin */
  GPIO_InitStruct.Pin = AUDIO_RST_Pin;
  GPIO_InitStruct.Mode = GPIO_MODE_OUTPUT_PP;
  GPIO_InitStruct.Pull = GPIO_NOPULL;
  GPIO_InitStruct.Speed = GPIO_SPEED_FREQ_HIGH;
  HAL_GPIO_Init(AUDIO_RST_GPIO_Port, &GPIO_InitStruct);

  /*Configure GPIO pins : JOY_CENTER_Pin DIGITIZER_IN_Y2_Pin */
  GPIO_InitStruct.Pin = JOY_CENTER_Pin|DIGITIZER_IN_Y2_Pin;
  GPIO_InitStruct.Mode = GPIO_MODE_INPUT;
  GPIO_InitStruct.Pull = GPIO_PULLDOWN;
  HAL_GPIO_Init(GPIOA, &GPIO_InitStruct);

  /*Configure GPIO pin : DIGITIZER_OUT_X1_Pin */
  GPIO_InitStruct.Pin = DIGITIZER_OUT_X1_Pin;
  GPIO_InitStruct.Mode = GPIO_MODE_OUTPUT_PP;
  GPIO_InitStruct.Pull = GPIO_PULLUP;
  GPIO_InitStruct.Speed = GPIO_SPEED_FREQ_LOW;
  HAL_GPIO_Init(DIGITIZER_OUT_X1_GPIO_Port, &GPIO_InitStruct);

  /*Configure GPIO pin : DIGITIZER_IN_X2_Pin */
  GPIO_InitStruct.Pin = DIGITIZER_IN_X2_Pin;
  GPIO_InitStruct.Mode = GPIO_MODE_OUTPUT_PP;
  GPIO_InitStruct.Pull = GPIO_PULLDOWN;
  GPIO_InitStruct.Speed = GPIO_SPEED_FREQ_LOW;
  HAL_GPIO_Init(DIGITIZER_IN_X2_GPIO_Port, &GPIO_InitStruct);

  /*Configure GPIO pin : LD_R_Pin */
  GPIO_InitStruct.Pin = LD_R_Pin;
  GPIO_InitStruct.Mode = GPIO_MODE_OUTPUT_PP;
  GPIO_InitStruct.Pull = GPIO_PULLUP;
  GPIO_InitStruct.Speed = GPIO_SPEED_FREQ_VERY_HIGH;
  HAL_GPIO_Init(LD_R_GPIO_Port, &GPIO_InitStruct);

  /*Configure GPIO pin : LD_G_Pin */
  GPIO_InitStruct.Pin = LD_G_Pin;
  GPIO_InitStruct.Mode = GPIO_MODE_OUTPUT_PP;
  GPIO_InitStruct.Pull = GPIO_PULLUP;
  GPIO_InitStruct.Speed = GPIO_SPEED_FREQ_VERY_HIGH;
  HAL_GPIO_Init(LD_G_GPIO_Port, &GPIO_InitStruct);

}

void Error_Handler(void)
{
	  __disable_irq();
	  while (1)
	  {
	  }
}
